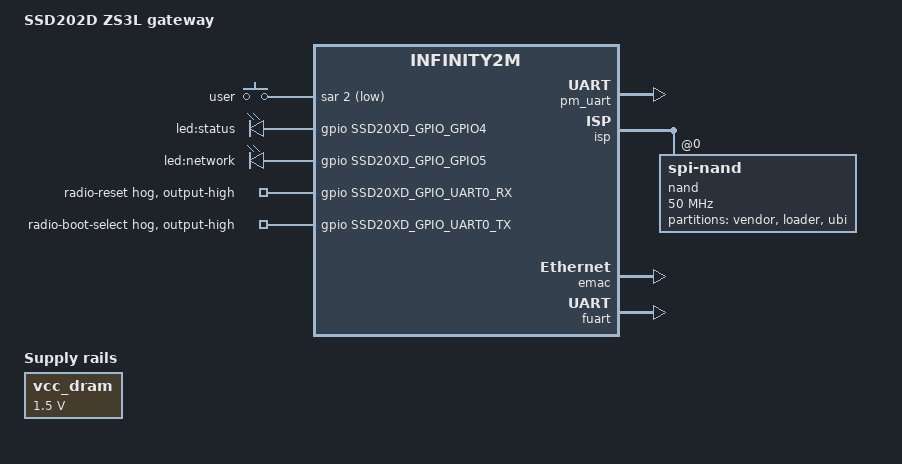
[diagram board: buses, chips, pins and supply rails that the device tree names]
// SPDX-License-Identifier: GPL-2.0-or-later
/*
 * SSD202D gateway: 128 MiB SPI NAND, Ethernet, a polled user key, two LEDs and a Silicon Labs EFR32MG21 radio
 * module (Tuya ZS3L) on the fuart. Compiled against the SoC device trees carried from linux-chenxing (the
 * fork's mstar-infinity2m-ssd202d.dtsi chain).
 */

/dts-v1/;
#include "mstar-infinity2m-ssd202d.dtsi"
#include <dt-bindings/input/input.h>

/ {
	model = "SSD202D ZS3L gateway";
	compatible = "ybo,ssd202d-zs3l-gw", "mstar,infinity2m";

	aliases {
		serial0 = &pm_uart;
		ethernet0 = &emac;
	};

	chosen {
		stdout-path = "serial0:115200n8";
	};

	vcc_dram: regulator-vcc-dram {
		compatible = "regulator-fixed";
		regulator-name = "vcc_dram";
		regulator-min-microvolt = <1500000>;
		regulator-max-microvolt = <1500000>;
		regulator-boot-on;
	};

	keys {
		compatible = "gpio-keys-polled";
		poll-interval = <20>;

		/* SAR_GPIO2, active low; its interrupt cannot be claimed, so the key is polled. */
		key-user {
			label = "user";
			linux,code = <KEY_RESTART>;
			gpios = <&sar 2 GPIO_ACTIVE_LOW>;
		};
	};

	leds {
		compatible = "gpio-leds";

		led-status {
			label = "led:status";
			gpios = <&gpio SSD20XD_GPIO_GPIO4 GPIO_ACTIVE_HIGH>;
			default-state = "on";
		};

		led-network {
			label = "led:network";
			gpios = <&gpio SSD20XD_GPIO_GPIO5 GPIO_ACTIVE_HIGH>;
			default-state = "on";
		};
	};
};

&pm_uart {
	status = "okay";
};

/* No BDMA driver is built: the SPI flash controller reads through the CPU. */
&bdma {
	status = "disabled";
};

&isp {
	status = "okay";

	nand: nand@0 {
		compatible = "spi-nand";
		reg = <0>;
		spi-max-frequency = <50000000>;
		spi-rx-bus-width = <4>;

		/* Mica OS's flash layout, boards/ssd202d/flash.tsv. */
		partitions {
			compatible = "fixed-partitions";
			#address-cells = <1>;
			#size-cells = <1>;

			/* The vendor's CIS and IPL, never written. */
			partition@0 {
				label = "vendor";
				reg = <0x0 0x200000>;
				read-only;
			};

			/* The SPL in the first IPL_CUST slot (the second is left erased), U-Boot proper. */
			partition@200000 {
				label = "loader";
				reg = <0x200000 0x180000>;
			};

			partition@380000 {
				label = "ubi";
				reg = <0x380000 0x7c80000>;
			};
		};
	};
};

&emac {
	pinctrl-names = "default";
	pinctrl-0 = <&pm_led_mode1_pins>;
	status = "okay";
};

&miu {
	ddr-supply = <&vcc_dram>;
};

/* The radio module: 460800 baud with RTS/CTS. The UART DMA (urdma) loses transmit data, so it is not used. */
&fuart {
	pinctrl-names = "default";
	pinctrl-0 = <&fuart_mode1_pins>;
	uart-has-rtscts;
	/delete-property/ dmas;
	/delete-property/ dma-names;
	status = "okay";
};

/*
 * The module's control lines: vendor GPIO47 (UART0_RX pad) is its reset, active low; vendor GPIO48 (UART0_TX
 * pad) selects its bootloader when low as the reset is released. Both are held high, the module running its
 * application, until a userspace helper takes them over.
 */
&gpio {
	radio-reset-hog {
		gpio-hog;
		gpios = <SSD20XD_GPIO_UART0_RX GPIO_ACTIVE_HIGH>;
		output-high;
		line-name = "radio-reset";
	};

	radio-boot-select-hog {
		gpio-hog;
		gpios = <SSD20XD_GPIO_UART0_TX GPIO_ACTIVE_HIGH>;
		output-high;
		line-name = "radio-boot-select";
	};
};
